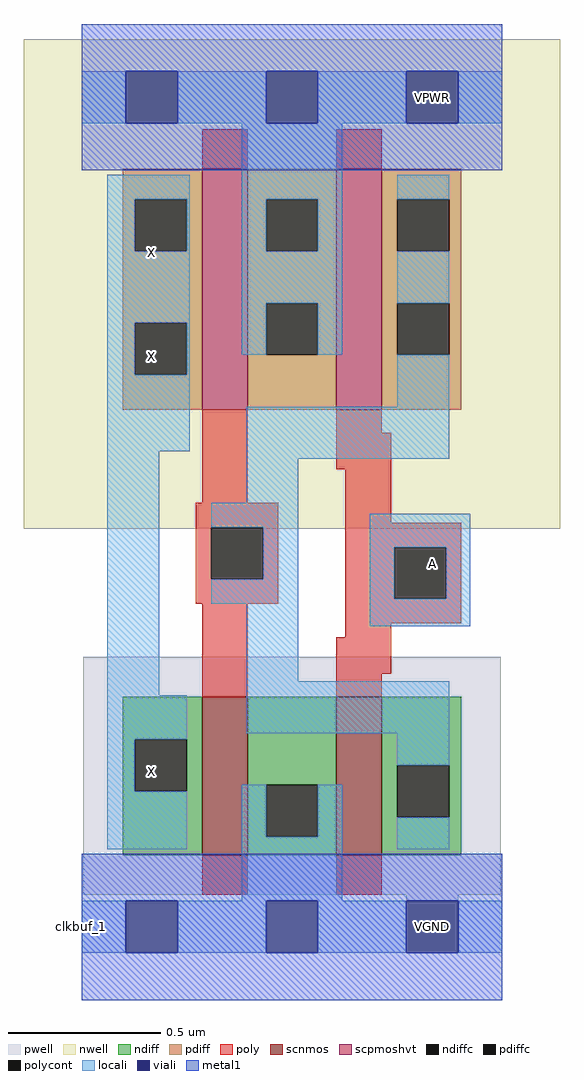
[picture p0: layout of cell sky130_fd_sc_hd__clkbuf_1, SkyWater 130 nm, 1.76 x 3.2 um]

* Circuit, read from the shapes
.subckt sky130_fd_sc_hd__clkbuf_1 VGND VPWR VPB VNB X A
XM1 VGND n1 X VNB sky130_fd_pr__nfet_01v8 w=0.52 l=0.15
XM2 n1 A VGND VNB sky130_fd_pr__nfet_01v8 w=0.52 l=0.15
XM3 VPWR n1 X VPB sky130_fd_pr__pfet_01v8_hvt w=0.79 l=0.15
XM4 n1 A VPWR VPB sky130_fd_pr__pfet_01v8_hvt w=0.79 l=0.15
.ends

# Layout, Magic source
magic
tech sky130B
magscale 1 2
<< nwell >>
rect -38 221 314 542
<< pwell >>
rect 1 -19 275 137
rect 213 -57 247 -19
<< scnmos >>
rect 79 7 109 111
rect 167 7 197 111
<< scpmoshvt >>
rect 79 299 109 457
rect 167 299 197 457
<< ndiff >>
rect 27 83 79 111
rect 27 49 35 83
rect 69 49 79 83
rect 27 7 79 49
rect 109 53 167 111
rect 109 19 121 53
rect 155 19 167 53
rect 109 7 167 19
rect 197 66 249 111
rect 197 32 207 66
rect 241 32 249 66
rect 197 7 249 32
<< pdiff >>
rect 27 437 79 457
rect 27 403 35 437
rect 69 403 79 437
rect 27 356 79 403
rect 27 322 35 356
rect 69 322 79 356
rect 27 299 79 322
rect 109 437 167 457
rect 109 403 121 437
rect 155 403 167 437
rect 109 369 167 403
rect 109 335 121 369
rect 155 335 167 369
rect 109 299 167 335
rect 197 437 249 457
rect 197 403 207 437
rect 241 403 249 437
rect 197 369 249 403
rect 197 335 207 369
rect 241 335 249 369
rect 197 299 249 335
<< ndiffc >>
rect 35 49 69 83
rect 121 19 155 53
rect 207 32 241 66
<< pdiffc >>
rect 35 403 69 437
rect 35 322 69 356
rect 121 403 155 437
rect 121 335 155 369
rect 207 403 241 437
rect 207 335 241 369
<< poly >>
rect 79 457 109 483
rect 167 457 197 483
rect 79 238 109 299
rect 167 284 197 299
rect 167 260 203 284
rect 75 222 129 238
rect 75 188 85 222
rect 119 188 129 222
rect 75 172 129 188
rect 173 225 203 260
rect 173 209 249 225
rect 173 175 205 209
rect 239 175 249 209
rect 79 111 109 172
rect 173 159 249 175
rect 173 150 203 159
rect 167 126 203 150
rect 167 111 197 126
rect 79 -19 109 7
rect 167 -19 197 7
<< polycont >>
rect 85 188 119 222
rect 205 175 239 209
<< locali >>
rect 0 487 29 521
rect 63 487 121 521
rect 155 487 213 521
rect 247 487 276 521
rect 17 437 71 453
rect 17 403 35 437
rect 69 403 71 437
rect 17 356 71 403
rect 17 322 35 356
rect 69 322 71 356
rect 105 437 171 487
rect 105 403 121 437
rect 155 403 171 437
rect 105 369 171 403
rect 105 335 121 369
rect 155 335 171 369
rect 207 437 241 453
rect 207 369 241 403
rect 17 272 71 322
rect 207 301 241 335
rect 17 112 51 272
rect 108 267 241 301
rect 108 238 142 267
rect 85 222 142 238
rect 119 188 142 222
rect 85 172 142 188
rect 108 121 142 172
rect 189 209 255 231
rect 189 175 205 209
rect 239 175 255 209
rect 189 157 255 175
rect 17 83 69 112
rect 108 87 241 121
rect 17 49 35 83
rect 207 66 241 87
rect 17 11 69 49
rect 105 19 121 53
rect 155 19 171 53
rect 105 -23 171 19
rect 207 11 241 32
rect 0 -57 29 -23
rect 63 -57 121 -23
rect 155 -57 213 -23
rect 247 -57 276 -23
<< viali >>
rect 29 487 63 521
rect 121 487 155 521
rect 213 487 247 521
rect 29 -57 63 -23
rect 121 -57 155 -23
rect 213 -57 247 -23
<< metal1 >>
rect 0 521 276 552
rect 0 487 29 521
rect 63 487 121 521
rect 155 487 213 521
rect 247 487 276 521
rect 0 456 276 487
rect 0 -23 276 8
rect 0 -57 29 -23
rect 63 -57 121 -23
rect 155 -57 213 -23
rect 247 -57 276 -23
rect 0 -88 276 -57
<< labels >>
rlabel comment s 0 -40 0 -40 4 clkbuf_1
flabel metal1 s 213 -57 247 -23 0 FreeSans 200 180 0 0 VGND
port 2 nsew
flabel metal1 s 213 487 247 521 0 FreeSans 200 180 0 0 VPWR
port 3 nsew
flabel nwell s 213 487 247 521 0 FreeSans 200 180 0 0 VPB
port 5 nsew
flabel pwell s 213 -57 247 -23 0 FreeSans 200 180 0 0 VNB
port 6 nsew
flabel locali s 29 45 63 79 0 FreeSans 200 180 0 0 X
port 7 nsew
flabel locali s 29 317 63 351 0 FreeSans 200 180 0 0 X
port 7 nsew
flabel locali s 29 385 63 419 0 FreeSans 200 180 0 0 X
port 7 nsew
flabel locali s 213 181 247 215 0 FreeSans 200 180 0 0 A
port 8 nsew
<< properties >>
string FIXED_BBOX 0 -40 276 504
string path 6.900 12.600 0.000 12.600 
<< end >>
